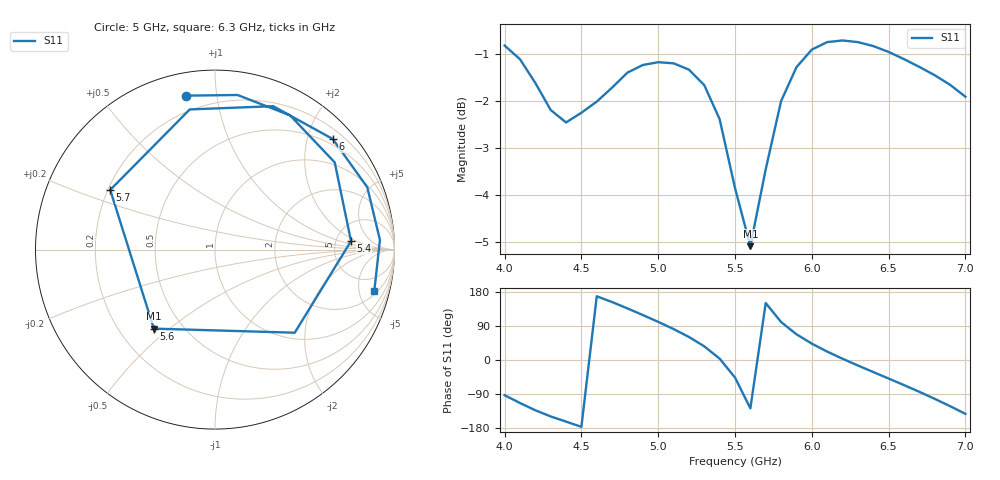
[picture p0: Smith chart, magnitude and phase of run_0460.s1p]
! Touchstone file exported from HFSS 2024.2.0
!  File:  C:/Users/wsak9/Desktop/Sim Fast/Widenad Patch/WP_AI_V1_sweep.aedt
!  Generated:  11:04:39 AM Oct 14, 2026
!  Design:  A1_model
!  Project:  WP_AI_V1_sweep
!  Setup:  Setup1
!  Solution:  Sweep
! Variables:
!  Air_gap = 1.87mm
!  Curve_Amp1 = 1.61
!  Curve_len1 = 1
!  Curve_pos = 11.11mm
!  Extra = 6.12mm
!  H_sub = 0.79mm
!  L_Patch = 18.22mm
!  L_Patch1 = 19.93mm
!  Sx = 4.67mm
!  Sy = 0.6mm
!  WS = 1.2mm
!  W_Patch = 16.49mm
!  W_Patch1 = 13.81mm
!Data is not renormalized
# GHz S MA
! Terminal data exported
! Port[1] = 1
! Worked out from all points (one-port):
!   31 points, 4 GHz to 7 GHz, reference per port
!   lowest |S11| = -5.1 dB at 5.6 GHz (marker M1), VSWR 3.51
!   |S11| at or under -10 dB: nowhere
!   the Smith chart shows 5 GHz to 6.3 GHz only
!   S11 on the Smith chart (normalised r, x): 5 GHz: 0.11, +0.82; 5.4 GHz: 6.95, +1.55; 5.6 GHz: 0.35, -0.44; 5.7 GHz: 0.21, +0.25; 6 GHz: 0.38, +2.47; 6.3 GHz: 2.46, -7.04
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4  0.9091 -92.9
4.1  0.8793 -113.5
4.2  0.8296 -132.6
4.4  0.7532 -162.6
4.6  0.7927 168.1
4.7  0.8203 152.9
4.8  0.8509 136.1
4.9  0.8669 118.6
5  0.8728 100.6
5.1  0.8704 81.7
5.2  0.8571 60.8
5.3  0.8252 36.1
5.4  0.7593 3.6
5.5  0.6417 -46.2
5.6  0.5567 -127.7
5.7  0.6718 150.3
5.8  0.7935 100.2
5.9  0.8622 67.9
6  0.9001 43.2
6.1  0.9168 22.2
6.2  0.9205 3.3
6.3  0.9168 -14.5
6.5  0.895 -48.9
6.6  0.8795 -66.2
6.7  0.8629 -83.9
6.8  0.8455 -102.4
6.9  0.826 -121.8
7  0.8023 -142.1
